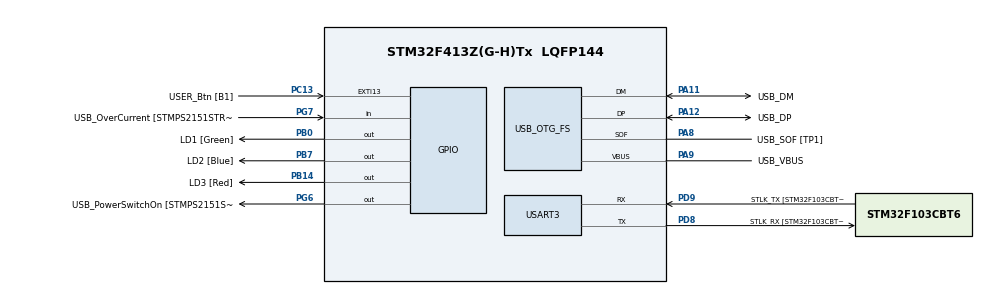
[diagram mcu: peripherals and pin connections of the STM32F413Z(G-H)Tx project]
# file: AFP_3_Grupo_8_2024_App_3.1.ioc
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Mcu.Family=STM32F4
Mcu.Name=STM32F413Z(G-H)Tx
Mcu.Package=LQFP144
NVIC.PriorityGroup=NVIC_PRIORITYGROUP_4
PA10.GPIO_Label=USB_ID
PA10.Signal=USB_OTG_FS_ID
PA11.GPIO_Label=USB_DM
PA11.Mode=Device_Only
PA11.Signal=USB_OTG_FS_DM
PA12.GPIO_Label=USB_DP
PA12.Mode=Device_Only
PA12.Signal=USB_OTG_FS_DP
PA13.GPIO_Label=TMS
PA13.Mode=Serial_Wire
PA13.Signal=SYS_JTMS-SWDIO
PA14.GPIO_Label=TCK
PA14.Mode=Serial_Wire
PA14.Signal=SYS_JTCK-SWCLK
PA8.GPIO_Label=USB_SOF [TP1]
PA8.Mode=Activate_SOF_FS
PA8.Signal=USB_OTG_FS_SOF
PA9.GPIO_Label=USB_VBUS
PA9.Mode=Activate_VBUS
PA9.Signal=USB_OTG_FS_VBUS
PB0.GPIO_Label=LD1 [Green]
PB0.Signal=GPIO_Output
PB14.GPIO_Label=LD3 [Red]
PB14.Signal=GPIO_Output
PB3.GPIO_Label=SWO
PB3.Signal=SYS_JTDO-SWO
PB7.GPIO_Label=LD2 [Blue]
PB7.Signal=GPIO_Output
PC13.GPIO_Label=USER_Btn [B1]
PC13.Signal=GPXTI13
PC14-OSC32_IN.Mode=LSE-External-Oscillator
PC14-OSC32_IN.Signal=RCC_OSC32_IN
PC15-OSC32_OUT.Mode=LSE-External-Oscillator
PC15-OSC32_OUT.Signal=RCC_OSC32_OUT
PD8.GPIO_Label=STLK_RX [STM32F103CBT6_PA3]
PD8.Mode=Asynchronous
PD8.Signal=USART3_TX
PD9.GPIO_Label=STLK_TX [STM32F103CBT6_PA2]
PD9.Mode=Asynchronous
PD9.Signal=USART3_RX
PG6.GPIO_Label=USB_PowerSwitchOn [STMPS2151STR_EN]
PG6.Signal=GPIO_Output
PG7.GPIO_Label=USB_OverCurrent [STMPS2151STR_FAULT]
PG7.Signal=GPIO_Input
PH0\ -\ OSC_IN.GPIO_Label=MCO
PH0\ -\ OSC_IN.Mode=HSE-External-Clock-Source
PH0\ -\ OSC_IN.Signal=RCC_OSC_IN
PH1\ -\ OSC_OUT.Mode=HSE-External-Clock-Source
PH1\ -\ OSC_OUT.Signal=RCC_OSC_OUT
ProjectManager.HeapSize=0x200
ProjectManager.StackSize=0x400
ProjectManager.TargetToolchain=STM32CubeIDE
RCC.48MHZClocksFreq_Value=24000000
RCC.AHBFreq_Value=96000000
RCC.APB1CLKDivider=RCC_HCLK_DIV2
RCC.APB1Freq_Value=48000000
RCC.APB1TimFreq_Value=96000000
RCC.APB2Freq_Value=96000000
RCC.APB2TimFreq_Value=96000000
RCC.CortexFreq_Value=96000000
RCC.HCLKFreq_Value=96000000
RCC.HSE_VALUE=8000000
RCC.HSI_VALUE=16000000
RCC.PLLM=8
RCC.PLLMUL=RCC_PLL_MUL9
RCC.PLLN=384
RCC.PLLP=RCC_PLLP_DIV4
RCC.PLLQ=8
RCC.PRESCALERUSB=RCC_USBCLKSOURCE_PLL_DIV1_5
RCC.SYSCLKFreq_VALUE=96000000
RCC.SYSCLKSource=RCC_SYSCLKSOURCE_PLLCLK
RCC.SYSCLKSourceVirtual=RCC_SYSCLKSOURCE_PLLCLK
RCC.USBFreq_Value=48000000
RCC.VCOOutputFreq_Value=384000000
USART3.VirtualMode=VM_ASYNC
USB_OTG_FS.VirtualMode=Device_Only
board=NUCLEO-F413ZH

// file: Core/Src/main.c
/* USER CODE BEGIN Header */
/**
  ******************************************************************************
  * @file           : main.c
  * @brief          : Main program body
  ******************************************************************************
  * @attention
  *
  * Copyright (c) 2024 STMicroelectronics.
  * All rights reserved.
  *
  * This software is licensed under terms that can be found in the LICENSE file
  * in the root directory of this software component.
  * If no LICENSE file comes with this software, it is provided AS-IS.
  *
  ******************************************************************************
  */
/* USER CODE END Header */
#include "main.h"
#include "API_GPIO.h"
#include "API_Delay.h"

/* USER CODE BEGIN PTD */
typedef enum {
    ENCENDER_LED0,
    ESPERAR_LED0_OFF,
    ENCENDER_LED1,
    ESPERAR_LED1_OFF,
    ENCENDER_LED2,
    ESPERAR_LED2_OFF
} estado_t;

estado_t estado = ENCENDER_LED0;
/* USER CODE END PTD */

/* USER CODE BEGIN PD */
#define N 3 				//variable N para definir el tamaño del vector LED
/* USER CODE END PD */

/* USER CODE BEGIN PV */
uint16_t LED[N]={LD1_Pin, LD2_Pin, LD3_Pin};
delay_t delaySecuencia;

//delay_t delays[N]={delay_t delayLed1, delayLed2, delayLed3};
/* USER CODE END PV */

int main(void)
{

  /* MCU Configuration--------------------------------------------------------*/

  /* Reset of all peripherals, Initializes the Flash interface and the Systick. */
  HAL_Init();

  /* Configure the system clock */
  SystemClock_Config();

  /* Initialize all configured peripherals */
  MX_GPIO_Init();
  MX_USART3_UART_Init();
  MX_USB_OTG_FS_PCD_Init();

  /* USER CODE BEGIN 2 */
  delayInit(&delaySecuencia, 200); //definir el tiempo de retardo
  //delayInit(&delayLed2, 200); //definir el tiempo de retardo
  //delayInit(&delayLed2, 200); //definir el tiempo de retardo
  /* USER CODE END 2 */

  /* Infinite loop */
  /* USER CODE BEGIN WHILE */
  while (1)
  {
	  /* Programa para hacer parpadear leds en secuencia cada 200 ms */

	     if (delayRead(&delaySecuencia)) {
	          // Cambiar estado según la máquina de estados
	          switch (estado) {
	              case ENCENDER_LED0:
	                  toggleLed_GPIO(LED[0]);  // Encender LED 0
	                  delayWrite(&delaySecuencia, 200);  // Esperar 200 ms
	                  estado = ESPERAR_LED0_OFF;
	                  break;

	              case ESPERAR_LED0_OFF:
	                  toggleLed_GPIO(LED[0]);  // Apagar LED 0
	                  delayWrite(&delaySecuencia, 200);  // Esperar 200 ms
	                  estado = ENCENDER_LED1;
	                  break;

	              case ENCENDER_LED1:
	                  toggleLed_GPIO(LED[1]);  // Encender LED 1
	                  delayWrite(&delaySecuencia, 200);  // Esperar 200 ms
	                  estado = ESPERAR_LED1_OFF;
	                  break;

	              case ESPERAR_LED1_OFF:
	                  toggleLed_GPIO(LED[1]);  // Apagar LED 1
	                  delayWrite(&delaySecuencia, 200);  // Esperar 200 ms
	                  estado = ENCENDER_LED2;
	                  break;

	              case ENCENDER_LED2:
	                  toggleLed_GPIO(LED[2]);  // Encender LED 2
	                  delayWrite(&delaySecuencia, 200);  // Esperar 200 ms
	                  estado = ESPERAR_LED2_OFF;
	                  break;

	              case ESPERAR_LED2_OFF:
	                  toggleLed_GPIO(LED[2]);  // Apagar LED 2
	                  delayWrite(&delaySecuencia, 200);  // Esperar 200 ms
	                  estado = ENCENDER_LED0;  // Reiniciar la secuencia
	                  break;
	          }

	     }
  }
    /* USER CODE END WHILE */

}

void Error_Handler(void)
{
  __disable_irq();
  while (1)
  {
  }
}
